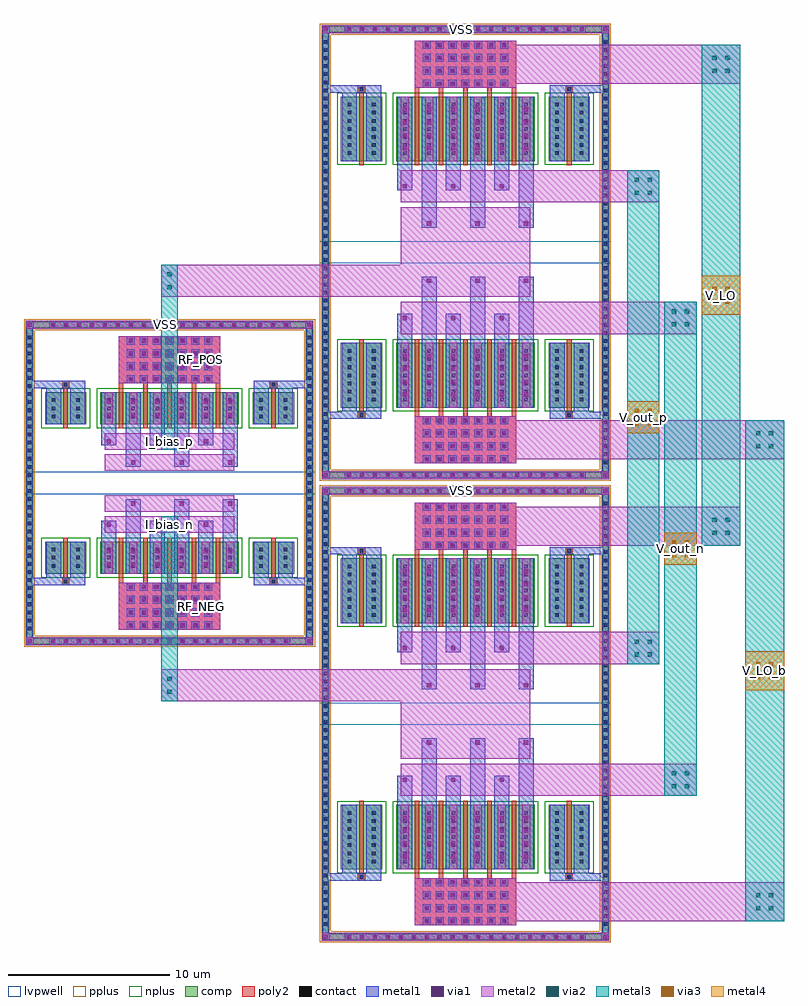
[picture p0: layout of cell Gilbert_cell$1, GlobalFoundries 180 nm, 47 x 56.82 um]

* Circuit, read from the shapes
.subckt Gilbert_cell$1 I_bias_n I_bias_p RF_NEG RF_POS VSS V_LO V_LO_b V_out_n V_out_p
XM1 VSS VSS VSS VSS nfet_03v3 w=2u l=0.28u m=4
XM2 n1 RF_NEG I_bias_n VSS nfet_03v3 w=2u l=0.28u m=5
XM3 n2 RF_POS I_bias_p VSS nfet_03v3 w=2u l=0.28u m=5
XM4 VSS VSS VSS VSS nfet_03v3 w=4u l=0.28u m=8
XM5 I_bias_n V_LO_b V_out_n VSS nfet_03v3 w=4u l=0.28u m=5
XM6 I_bias_n V_LO V_out_p VSS nfet_03v3 w=4u l=0.28u m=5
XM7 I_bias_p V_LO_b V_out_n VSS nfet_03v3 w=4u l=0.28u m=5
XM8 I_bias_p V_LO V_out_p VSS nfet_03v3 w=4u l=0.28u m=5
.ends

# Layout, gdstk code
import gdstk
lib = gdstk.Library(unit=1e-6, precision=5e-09)
def R(c, l, rs):  # rectangles x0, y0, x1, y1
    for r in rs: c.add(gdstk.rectangle(r[:2], r[2:], *l))
def A(c, l, x, y, w, h, nx, ny, dx, dy):  # array of equal rectangles
    R(c, l, [(x+i*dx, y+j*dy, x+i*dx+w, y+j*dy+h) for i in range(nx) for j in range(ny)])
def P(c, l, *ps):  # polygons
    for p in ps: c.add(gdstk.Polygon(p, *l))
comp = (22, 0)
poly2 = (30, 0)
pplus = (31, 0)
nplus = (32, 0)
contact = (33, 0)
metal1 = (34, 0)
via1 = (35, 0)
metal2 = (36, 0)
via2 = (38, 0)
via3 = (40, 0)
metal3 = (42, 0)
metal4 = (46, 0)
lvpwell = (204, 0)

gilbert_cell_1 = lib.new_cell('Gilbert_cell$1')
A(gilbert_cell_1, comp, 10.92, -33.165, 0.36, 0.36, 19, 2, 0.8, 27.58)
A(gilbert_cell_1, comp, 9.46, -32.375, 0.36, 0.36, 1, 53, 0, 0.5)
A(gilbert_cell_1, comp, 26.78, -32.375, 0.36, 0.36, 1, 53, 0, 0.5)
A(gilbert_cell_1, comp, -7.38, -14.885, 0.36, 0.36, 19, 2, 0.8, 19.58)
A(gilbert_cell_1, comp, -8.84, -14.095, 0.36, 0.36, 1, 37, 0, 0.5)
A(gilbert_cell_1, comp, 8.48, -14.095, 0.36, 0.36, 1, 37, 0, 0.5)
A(gilbert_cell_1, comp, 10.92, -4.605, 0.36, 0.36, 19, 2, 0.8, 27.58)
A(gilbert_cell_1, comp, 9.46, -3.815, 0.36, 0.36, 1, 53, 0, 0.5)
A(gilbert_cell_1, comp, 26.78, -3.815, 0.36, 0.36, 1, 53, 0, 0.5)
R(gilbert_cell_1, comp, [(10.92,-33.165,25.68,-32.805), (9.46,-32.375,9.82,-6.015), (26.78,-32.375,27.14,-6.015), (10.6,-28.815,13.16,-24.815), (14.02,-28.815,22.58,-24.815), (23.44,-28.815,26,-24.815), (-7.38,-14.885,7.38,-14.525), (-8.84,-14.095,-8.48,4.265), (8.48,-14.095,8.84,4.265), (10.6,-13.575,13.16,-9.575), (14.02,-13.575,22.58,-9.575), (23.44,-13.575,26,-9.575), (-7.7,-10.535,-5.14,-8.535), (-4.28,-10.535,4.28,-8.535), (5.14,-10.535,7.7,-8.535), (10.92,-5.585,25.68,-5.225), (10.92,-4.605,25.68,-4.245), (9.46,-3.815,9.82,22.545), (26.78,-3.815,27.14,22.545), (-7.7,-1.295,-5.14,0.705), (-4.28,-1.295,4.28,0.705), (5.14,-1.295,7.7,0.705), (10.6,-0.255,13.16,3.745), (14.02,-0.255,22.58,3.745), (23.44,-0.255,26,3.745), (-7.38,4.695,7.38,5.055), (10.6,14.985,13.16,18.985), (14.02,14.985,22.58,18.985), (23.44,14.985,26,18.985), (10.92,22.975,25.68,23.335)])
P(gilbert_cell_1, comp, [(8.84,5.055),(-8.84,5.055),(-8.84,-14.525),(-8.48,-14.525),(-8.48,4.695),(8.48,4.695),(8.48,-14.525),(-8.48,-14.525),(-8.84,-14.525),(-8.84,-14.885),(8.84,-14.885)],
  [(27.14,23.335),(9.46,23.335),(9.46,-4.245),(9.82,-4.245),(9.82,22.975),(26.78,22.975),(26.78,-4.245),(9.82,-4.245),(9.46,-4.245),(9.46,-4.605),(27.14,-4.605)],
  [(27.14,-5.225),(9.46,-5.225),(9.46,-32.805),(9.82,-32.805),(9.82,-5.585),(26.78,-5.585),(26.78,-32.805),(9.82,-32.805),(9.46,-32.805),(9.46,-33.165),(27.14,-33.165)])
A(gilbert_cell_1, poly2, 15.72, -32.185, 0.36, 0.36, 7, 4, 0.8, 0.8)
A(gilbert_cell_1, poly2, 15.16, -29.355, 0.28, 0.3, 5, 2, 1.5, 20.02)
A(gilbert_cell_1, poly2, 15.16, -29.055, 0.28, 4.48, 5, 2, 1.5, 15.24)
A(gilbert_cell_1, poly2, -2.58, -13.905, 0.36, 0.36, 7, 4, 0.8, 0.8)
A(gilbert_cell_1, poly2, -3.14, -11.075, 0.28, 0.3, 5, 2, 1.5, 12.02)
A(gilbert_cell_1, poly2, -3.14, -10.775, 0.28, 2.48, 5, 2, 1.5, 9.24)
A(gilbert_cell_1, poly2, 15.72, -8.965, 0.36, 0.36, 7, 4, 0.8, 0.8)
A(gilbert_cell_1, poly2, 15.72, -3.625, 0.36, 0.36, 7, 4, 0.8, 0.8)
A(gilbert_cell_1, poly2, 15.16, -0.795, 0.28, 0.3, 5, 2, 1.5, 20.02)
A(gilbert_cell_1, poly2, 15.16, -0.495, 0.28, 4.48, 5, 2, 1.5, 15.24)
A(gilbert_cell_1, poly2, -2.58, 1.315, 0.36, 0.36, 7, 4, 0.8, 0.8)
A(gilbert_cell_1, poly2, 15.72, 19.595, 0.36, 0.36, 7, 4, 0.8, 0.8)
R(gilbert_cell_1, poly2, [(15.16,-32.255,21.44,-29.355), (11.65,-29.515,12.11,-29.055), (24.49,-29.515,24.95,-29.055), (11.7,-29.465,12.06,-29.105), (24.54,-29.465,24.9,-29.105), (11.74,-29.055,12.02,-24.575), (24.58,-29.055,24.86,-24.575), (-3.14,-13.975,3.14,-11.075), (11.74,-13.815,12.02,-9.335), (24.58,-13.815,24.86,-9.335), (-6.65,-11.235,-6.19,-10.775), (6.19,-11.235,6.65,-10.775), (-6.6,-11.185,-6.24,-10.825), (6.24,-11.185,6.6,-10.825), (-6.56,-10.775,-6.28,-8.295), (6.28,-10.775,6.56,-8.295), (11.65,-9.335,12.11,-8.875), (24.49,-9.335,24.95,-8.875), (11.7,-9.285,12.06,-8.925), (24.54,-9.285,24.9,-8.925), (15.16,-9.035,21.44,-6.135), (15.16,-3.695,21.44,-0.795), (-6.56,-1.535,-6.28,0.945), (6.28,-1.535,6.56,0.945), (11.65,-0.955,12.11,-0.495), (24.49,-0.955,24.95,-0.495), (11.7,-0.905,12.06,-0.545), (24.54,-0.905,24.9,-0.545), (11.74,-0.495,12.02,3.985), (24.58,-0.495,24.86,3.985), (-6.65,0.945,-6.19,1.405), (6.19,0.945,6.65,1.405), (-6.6,0.995,-6.24,1.355), (6.24,0.995,6.6,1.355), (-3.14,1.245,3.14,4.145), (11.74,14.745,12.02,19.225), (24.58,14.745,24.86,19.225), (11.65,19.225,12.11,19.685), (24.49,19.225,24.95,19.685), (11.7,19.275,12.06,19.635), (24.54,19.275,24.9,19.635), (15.16,19.525,21.44,22.425)])
P(gilbert_cell_1, pplus, [(9,5.215),(-9,5.215),(-9,-14.365),(-8.32,-14.365),(-8.32,4.535),(8.32,4.535),(8.32,-14.365),(-8.32,-14.365),(-9,-14.365),(-9,-15.045),(9,-15.045)],
  [(27.3,23.495),(9.3,23.495),(9.3,-4.085),(9.98,-4.085),(9.98,22.815),(26.62,22.815),(26.62,-4.085),(9.98,-4.085),(9.3,-4.085),(9.3,-4.765),(27.3,-4.765)],
  [(27.3,-5.065),(9.3,-5.065),(9.3,-32.645),(9.98,-32.645),(9.98,-5.745),(26.62,-5.745),(26.62,-32.645),(9.98,-32.645),(9.3,-32.645),(9.3,-33.325),(27.3,-33.325)])
R(gilbert_cell_1, nplus, [(10.37,-29.045,13.39,-24.585), (13.79,-29.045,22.81,-24.585), (23.21,-29.045,26.23,-24.585), (10.37,-13.805,13.39,-9.345), (13.79,-13.805,22.81,-9.345), (23.21,-13.805,26.23,-9.345), (-7.93,-10.765,-4.91,-8.305), (-4.51,-10.765,4.51,-8.305), (4.91,-10.765,7.93,-8.305), (-7.93,-1.525,-4.91,0.935), (-4.51,-1.525,4.51,0.935), (4.91,-1.525,7.93,0.935), (10.37,-0.485,13.39,3.975), (13.79,-0.485,22.81,3.975), (23.21,-0.485,26.23,3.975), (10.37,14.755,13.39,19.215), (13.79,14.755,22.81,19.215), (23.21,14.755,26.23,19.215)])
A(gilbert_cell_1, contact, 10.99, -33.095, 0.22, 0.22, 19, 2, 0.8, 27.58)
A(gilbert_cell_1, contact, 9.53, -32.305, 0.22, 0.22, 1, 53, 0, 0.5)
A(gilbert_cell_1, contact, 26.85, -32.305, 0.22, 0.22, 1, 53, 0, 0.5)
A(gilbert_cell_1, contact, 15.79, -32.115, 0.22, 0.22, 7, 4, 0.8, 0.8)
A(gilbert_cell_1, contact, 11.02, -28.425, 0.22, 0.22, 1, 7, 0, 0.5)
A(gilbert_cell_1, contact, 12.52, -28.425, 0.22, 0.22, 1, 7, 0, 0.5)
A(gilbert_cell_1, contact, 14.44, -28.425, 0.22, 0.22, 6, 7, 1.5, 0.5)
A(gilbert_cell_1, contact, 23.86, -28.425, 0.22, 0.22, 1, 7, 0, 0.5)
A(gilbert_cell_1, contact, 25.36, -28.425, 0.22, 0.22, 1, 7, 0, 0.5)
A(gilbert_cell_1, contact, -7.31, -14.815, 0.22, 0.22, 19, 2, 0.8, 19.58)
A(gilbert_cell_1, contact, -8.77, -14.025, 0.22, 0.22, 1, 37, 0, 0.5)
A(gilbert_cell_1, contact, 8.55, -14.025, 0.22, 0.22, 1, 37, 0, 0.5)
A(gilbert_cell_1, contact, -2.51, -13.835, 0.22, 0.22, 7, 4, 0.8, 0.8)
A(gilbert_cell_1, contact, 11.02, -13.185, 0.22, 0.22, 1, 7, 0, 0.5)
A(gilbert_cell_1, contact, 12.52, -13.185, 0.22, 0.22, 1, 7, 0, 0.5)
A(gilbert_cell_1, contact, 14.44, -13.185, 0.22, 0.22, 6, 7, 1.5, 0.5)
A(gilbert_cell_1, contact, 23.86, -13.185, 0.22, 0.22, 1, 7, 0, 0.5)
A(gilbert_cell_1, contact, 25.36, -13.185, 0.22, 0.22, 1, 7, 0, 0.5)
A(gilbert_cell_1, contact, -7.28, -10.145, 0.22, 0.22, 1, 3, 0, 0.5)
A(gilbert_cell_1, contact, -5.78, -10.145, 0.22, 0.22, 1, 3, 0, 0.5)
A(gilbert_cell_1, contact, -3.86, -10.145, 0.22, 0.22, 6, 3, 1.5, 0.5)
A(gilbert_cell_1, contact, 5.56, -10.145, 0.22, 0.22, 1, 3, 0, 0.5)
A(gilbert_cell_1, contact, 7.06, -10.145, 0.22, 0.22, 1, 3, 0, 0.5)
A(gilbert_cell_1, contact, 15.79, -8.895, 0.22, 0.22, 7, 4, 0.8, 0.8)
A(gilbert_cell_1, contact, 10.99, -4.535, 0.22, 0.22, 19, 2, 0.8, 27.58)
A(gilbert_cell_1, contact, 9.53, -3.745, 0.22, 0.22, 1, 53, 0, 0.5)
A(gilbert_cell_1, contact, 26.85, -3.745, 0.22, 0.22, 1, 53, 0, 0.5)
A(gilbert_cell_1, contact, 15.79, -3.555, 0.22, 0.22, 7, 4, 0.8, 0.8)
A(gilbert_cell_1, contact, -7.28, -0.905, 0.22, 0.22, 1, 3, 0, 0.5)
A(gilbert_cell_1, contact, -5.78, -0.905, 0.22, 0.22, 1, 3, 0, 0.5)
A(gilbert_cell_1, contact, -3.86, -0.905, 0.22, 0.22, 6, 3, 1.5, 0.5)
A(gilbert_cell_1, contact, 5.56, -0.905, 0.22, 0.22, 1, 3, 0, 0.5)
A(gilbert_cell_1, contact, 7.06, -0.905, 0.22, 0.22, 1, 3, 0, 0.5)
A(gilbert_cell_1, contact, 11.02, 0.135, 0.22, 0.22, 1, 7, 0, 0.5)
A(gilbert_cell_1, contact, 12.52, 0.135, 0.22, 0.22, 1, 7, 0, 0.5)
A(gilbert_cell_1, contact, 14.44, 0.135, 0.22, 0.22, 6, 7, 1.5, 0.5)
A(gilbert_cell_1, contact, 23.86, 0.135, 0.22, 0.22, 1, 7, 0, 0.5)
A(gilbert_cell_1, contact, 25.36, 0.135, 0.22, 0.22, 1, 7, 0, 0.5)
A(gilbert_cell_1, contact, -2.51, 1.385, 0.22, 0.22, 7, 4, 0.8, 0.8)
A(gilbert_cell_1, contact, 11.02, 15.375, 0.22, 0.22, 1, 7, 0, 0.5)
A(gilbert_cell_1, contact, 12.52, 15.375, 0.22, 0.22, 1, 7, 0, 0.5)
A(gilbert_cell_1, contact, 14.44, 15.375, 0.22, 0.22, 6, 7, 1.5, 0.5)
A(gilbert_cell_1, contact, 23.86, 15.375, 0.22, 0.22, 1, 7, 0, 0.5)
A(gilbert_cell_1, contact, 25.36, 15.375, 0.22, 0.22, 1, 7, 0, 0.5)
A(gilbert_cell_1, contact, 15.79, 19.665, 0.22, 0.22, 7, 4, 0.8, 0.8)
R(gilbert_cell_1, contact, [(11.77,-29.395,11.99,-29.175), (24.61,-29.395,24.83,-29.175), (-6.53,-11.115,-6.31,-10.895), (6.31,-11.115,6.53,-10.895), (11.77,-9.215,11.99,-8.995), (24.61,-9.215,24.83,-8.995), (11.77,-0.835,11.99,-0.615), (24.61,-0.835,24.83,-0.615), (-6.53,1.065,-6.31,1.285), (6.31,1.065,6.53,1.285), (11.77,19.345,11.99,19.565), (24.61,19.345,24.83,19.565)])
A(gilbert_cell_1, metal1, 10.85, -33.235, 0.5, 0.5, 19, 2, 0.8, 27.58)
A(gilbert_cell_1, metal1, 9.41, -32.425, 0.46, 0.46, 1, 53, 0, 0.5)
A(gilbert_cell_1, metal1, 26.73, -32.425, 0.46, 0.46, 1, 53, 0, 0.5)
A(gilbert_cell_1, metal1, 15.65, -32.255, 0.5, 0.5, 7, 4, 0.8, 0.8)
A(gilbert_cell_1, metal1, 14.09, -28.815, 0.92, 4, 6, 2, 1.5, 15.24)
A(gilbert_cell_1, metal1, 10.9, -28.545, 0.46, 0.46, 1, 7, 0, 0.5)
A(gilbert_cell_1, metal1, 12.4, -28.545, 0.46, 0.46, 1, 7, 0, 0.5)
A(gilbert_cell_1, metal1, 14.32, -28.545, 0.46, 0.46, 6, 7, 1.5, 0.5)
A(gilbert_cell_1, metal1, 23.74, -28.545, 0.46, 0.46, 1, 7, 0, 0.5)
A(gilbert_cell_1, metal1, 25.24, -28.545, 0.46, 0.46, 1, 7, 0, 0.5)
A(gilbert_cell_1, metal1, 14.3, -28.265, 0.5, 0.5, 6, 4, 1.5, 0.8)
A(gilbert_cell_1, metal1, 14.3, -28.265, 0.5, 2.9, 6, 2, 1.5, 15.24)
A(gilbert_cell_1, metal1, 14.09, -24.815, 0.92, 1.8, 3, 2, 3, 9.44)
A(gilbert_cell_1, metal1, 15.59, -24.815, 0.92, 4.1, 3, 2, 3, 7.14)
A(gilbert_cell_1, metal1, 14.3, -23.515, 0.5, 0.5, 3, 2, 3, 8.14)
A(gilbert_cell_1, metal1, 15.8, -21.215, 0.5, 0.5, 3, 2, 3, 3.54)
A(gilbert_cell_1, metal1, -7.45, -14.955, 0.5, 0.5, 19, 2, 0.8, 19.58)
A(gilbert_cell_1, metal1, -8.89, -14.145, 0.46, 0.46, 1, 37, 0, 0.5)
A(gilbert_cell_1, metal1, 8.43, -14.145, 0.46, 0.46, 1, 37, 0, 0.5)
A(gilbert_cell_1, metal1, -2.65, -13.975, 0.5, 0.5, 7, 4, 0.8, 0.8)
A(gilbert_cell_1, metal1, 10.9, -13.305, 0.46, 0.46, 1, 7, 0, 0.5)
A(gilbert_cell_1, metal1, 12.4, -13.305, 0.46, 0.46, 1, 7, 0, 0.5)
A(gilbert_cell_1, metal1, 14.32, -13.305, 0.46, 0.46, 6, 7, 1.5, 0.5)
A(gilbert_cell_1, metal1, 23.74, -13.305, 0.46, 0.46, 1, 7, 0, 0.5)
A(gilbert_cell_1, metal1, 25.24, -13.305, 0.46, 0.46, 1, 7, 0, 0.5)
A(gilbert_cell_1, metal1, 14.3, -13.025, 0.5, 0.5, 6, 4, 1.5, 0.8)
A(gilbert_cell_1, metal1, -4.21, -10.535, 0.92, 2, 6, 2, 1.5, 9.24)
A(gilbert_cell_1, metal1, -7.4, -10.265, 0.46, 0.46, 1, 3, 0, 0.5)
A(gilbert_cell_1, metal1, -5.9, -10.265, 0.46, 0.46, 1, 3, 0, 0.5)
A(gilbert_cell_1, metal1, -3.98, -10.265, 0.46, 0.46, 6, 3, 1.5, 0.5)
A(gilbert_cell_1, metal1, 5.44, -10.265, 0.46, 0.46, 1, 3, 0, 0.5)
A(gilbert_cell_1, metal1, 6.94, -10.265, 0.46, 0.46, 1, 3, 0, 0.5)
A(gilbert_cell_1, metal1, -4, -10.185, 0.5, 0.5, 6, 2, 1.5, 0.8)
A(gilbert_cell_1, metal1, -4, -10.185, 0.5, 1.3, 6, 2, 1.5, 9.24)
A(gilbert_cell_1, metal1, 15.65, -9.035, 0.5, 0.5, 7, 4, 0.8, 0.8)
A(gilbert_cell_1, metal1, -4.21, -8.535, 0.92, 1.3, 3, 2, 3, 5.94)
A(gilbert_cell_1, metal1, -2.71, -8.535, 0.92, 2.6, 3, 2, 3, 4.64)
A(gilbert_cell_1, metal1, -4, -7.735, 0.5, 0.5, 3, 2, 3, 5.14)
A(gilbert_cell_1, metal1, -2.5, -6.435, 0.5, 0.5, 3, 2, 3, 2.54)
A(gilbert_cell_1, metal1, 10.85, -4.675, 0.5, 0.5, 19, 2, 0.8, 27.58)
A(gilbert_cell_1, metal1, 9.41, -3.865, 0.46, 0.46, 1, 53, 0, 0.5)
A(gilbert_cell_1, metal1, 26.73, -3.865, 0.46, 0.46, 1, 53, 0, 0.5)
A(gilbert_cell_1, metal1, 15.65, -3.695, 0.5, 0.5, 7, 4, 0.8, 0.8)
A(gilbert_cell_1, metal1, -7.4, -1.025, 0.46, 0.46, 1, 3, 0, 0.5)
A(gilbert_cell_1, metal1, -5.9, -1.025, 0.46, 0.46, 1, 3, 0, 0.5)
A(gilbert_cell_1, metal1, -3.98, -1.025, 0.46, 0.46, 6, 3, 1.5, 0.5)
A(gilbert_cell_1, metal1, 5.44, -1.025, 0.46, 0.46, 1, 3, 0, 0.5)
A(gilbert_cell_1, metal1, 6.94, -1.025, 0.46, 0.46, 1, 3, 0, 0.5)
A(gilbert_cell_1, metal1, -4, -0.945, 0.5, 0.5, 6, 2, 1.5, 0.8)
A(gilbert_cell_1, metal1, 14.09, -0.255, 0.92, 4, 6, 2, 1.5, 15.24)
A(gilbert_cell_1, metal1, 10.9, 0.015, 0.46, 0.46, 1, 7, 0, 0.5)
A(gilbert_cell_1, metal1, 12.4, 0.015, 0.46, 0.46, 1, 7, 0, 0.5)
A(gilbert_cell_1, metal1, 14.32, 0.015, 0.46, 0.46, 6, 7, 1.5, 0.5)
A(gilbert_cell_1, metal1, 23.74, 0.015, 0.46, 0.46, 1, 7, 0, 0.5)
A(gilbert_cell_1, metal1, 25.24, 0.015, 0.46, 0.46, 1, 7, 0, 0.5)
A(gilbert_cell_1, metal1, 14.3, 0.295, 0.5, 0.5, 6, 4, 1.5, 0.8)
A(gilbert_cell_1, metal1, 14.3, 0.295, 0.5, 2.9, 6, 2, 1.5, 15.24)
A(gilbert_cell_1, metal1, -2.65, 1.245, 0.5, 0.5, 7, 4, 0.8, 0.8)
A(gilbert_cell_1, metal1, 14.09, 3.745, 0.92, 1.8, 3, 2, 3, 9.44)
A(gilbert_cell_1, metal1, 15.59, 3.745, 0.92, 4.1, 3, 2, 3, 7.14)
A(gilbert_cell_1, metal1, 14.3, 5.045, 0.5, 0.5, 3, 2, 3, 8.14)
A(gilbert_cell_1, metal1, 15.8, 7.345, 0.5, 0.5, 3, 2, 3, 3.54)
A(gilbert_cell_1, metal1, 10.9, 15.255, 0.46, 0.46, 1, 7, 0, 0.5)
A(gilbert_cell_1, metal1, 12.4, 15.255, 0.46, 0.46, 1, 7, 0, 0.5)
A(gilbert_cell_1, metal1, 14.32, 15.255, 0.46, 0.46, 6, 7, 1.5, 0.5)
A(gilbert_cell_1, metal1, 23.74, 15.255, 0.46, 0.46, 1, 7, 0, 0.5)
A(gilbert_cell_1, metal1, 25.24, 15.255, 0.46, 0.46, 1, 7, 0, 0.5)
A(gilbert_cell_1, metal1, 14.3, 15.535, 0.5, 0.5, 6, 4, 1.5, 0.8)
A(gilbert_cell_1, metal1, 15.65, 19.525, 0.5, 0.5, 7, 4, 0.8, 0.8)
R(gilbert_cell_1, metal1, [(9.41,-33.235,9.91,-32.735), (9.41,-33.235,9.91,-32.735), (9.41,-33.235,9.87,-32.805), (10.85,-33.235,25.75,-32.735), (26.69,-33.235,27.19,-32.735), (26.69,-33.235,27.19,-32.735), (26.73,-33.235,27.19,-32.805), (9.41,-32.805,9.87,-5.585), (26.73,-32.805,27.19,-5.585), (9.87,-29.515,12.11,-29.055), (10.67,-29.515,11.65,-29.055), (10.67,-29.515,11.59,-28.815), (11.65,-29.515,12.11,-29.055), (12.11,-29.515,13.09,-29.055), (12.17,-29.515,13.09,-28.815), (23.51,-29.515,24.49,-29.055), (23.51,-29.515,24.43,-28.815), (24.49,-29.515,24.95,-29.055), (24.49,-29.515,26.73,-29.055), (24.95,-29.515,25.93,-29.055), (25.01,-29.515,25.93,-28.815), (10.67,-28.815,11.59,-24.815), (12.17,-28.815,13.09,-24.815), (23.51,-28.815,24.43,-24.815), (25.01,-28.815,25.93,-24.815), (-8.89,-14.955,-8.39,-14.455), (-8.89,-14.955,-8.39,-14.455), (-8.89,-14.955,-8.43,-14.525), (-7.45,-14.955,7.45,-14.455), (8.39,-14.955,8.89,-14.455), (8.39,-14.955,8.89,-14.455), (8.43,-14.955,8.89,-14.525), (-8.89,-14.525,-8.43,4.695), (8.43,-14.525,8.89,4.695), (10.67,-13.575,11.59,-9.575), (12.17,-13.575,13.09,-9.575), (23.51,-13.575,24.43,-9.575), (25.01,-13.575,25.93,-9.575), (-8.43,-11.235,-6.19,-10.775), (-7.63,-11.235,-6.65,-10.775), (-7.63,-11.235,-6.71,-10.535), (-6.65,-11.235,-6.19,-10.775), (-6.19,-11.235,-5.21,-10.775), (-6.13,-11.235,-5.21,-10.535), (5.21,-11.235,6.19,-10.775), (5.21,-11.235,6.13,-10.535), (6.19,-11.235,6.65,-10.775), (6.19,-11.235,8.43,-10.775), (6.65,-11.235,7.63,-10.775), (6.71,-11.235,7.63,-10.535), (-7.63,-10.535,-6.71,-8.535), (-6.13,-10.535,-5.21,-8.535), (5.21,-10.535,6.13,-8.535), (6.71,-10.535,7.63,-8.535), (10.67,-9.575,11.59,-8.875), (12.17,-9.575,13.09,-8.875), (23.51,-9.575,24.43,-8.875), (25.01,-9.575,25.93,-8.875), (9.87,-9.335,12.11,-8.875), (10.67,-9.335,11.65,-8.875), (11.65,-9.335,12.11,-8.875), (12.11,-9.335,13.09,-8.875), (23.51,-9.335,24.49,-8.875), (24.49,-9.335,24.95,-8.875), (24.49,-9.335,26.73,-8.875), (24.95,-9.335,25.93,-8.875), (9.41,-5.655,9.91,-5.155), (9.41,-5.655,9.91,-5.155), (10.85,-5.655,25.75,-5.155), (26.69,-5.655,27.19,-5.155), (26.69,-5.655,27.19,-5.155), (9.41,-5.585,9.87,-5.155), (26.73,-5.585,27.19,-5.155), (9.41,-4.675,9.91,-4.175), (9.41,-4.675,9.91,-4.175), (9.41,-4.675,9.87,-4.245), (10.85,-4.675,25.75,-4.175), (26.69,-4.675,27.19,-4.175), (26.69,-4.675,27.19,-4.175), (26.73,-4.675,27.19,-4.245), (9.41,-4.245,9.87,22.975), (26.73,-4.245,27.19,22.975), (-7.63,-1.295,-6.71,0.705), (-6.13,-1.295,-5.21,0.705), (5.21,-1.295,6.13,0.705), (6.71,-1.295,7.63,0.705), (9.87,-0.955,12.11,-0.495), (10.67,-0.955,11.65,-0.495), (10.67,-0.955,11.59,-0.255), (11.65,-0.955,12.11,-0.495), (12.11,-0.955,13.09,-0.495), (12.17,-0.955,13.09,-0.255), (23.51,-0.955,24.49,-0.495), (23.51,-0.955,24.43,-0.255), (24.49,-0.955,24.95,-0.495), (24.49,-0.955,26.73,-0.495), (24.95,-0.955,25.93,-0.495), (25.01,-0.955,25.93,-0.255), (10.67,-0.255,11.59,3.745), (12.17,-0.255,13.09,3.745), (23.51,-0.255,24.43,3.745), (25.01,-0.255,25.93,3.745), (-7.63,0.705,-6.71,1.405), (-6.13,0.705,-5.21,1.405), (5.21,0.705,6.13,1.405), (6.71,0.705,7.63,1.405), (-8.43,0.945,-6.19,1.405), (-7.63,0.945,-6.65,1.405), (-6.65,0.945,-6.19,1.405), (-6.19,0.945,-5.21,1.405), (5.21,0.945,6.19,1.405), (6.19,0.945,6.65,1.405), (6.19,0.945,8.43,1.405), (6.65,0.945,7.63,1.405), (-8.89,4.625,-8.39,5.125), (-8.89,4.625,-8.39,5.125), (-7.45,4.625,7.45,5.125), (8.39,4.625,8.89,5.125), (8.39,4.625,8.89,5.125), (-8.89,4.695,-8.43,5.125), (8.43,4.695,8.89,5.125), (10.67,14.985,11.59,18.985), (12.17,14.985,13.09,18.985), (23.51,14.985,24.43,18.985), (25.01,14.985,25.93,18.985), (10.67,18.985,11.59,19.685), (12.17,18.985,13.09,19.685), (23.51,18.985,24.43,19.685), (25.01,18.985,25.93,19.685), (9.87,19.225,12.11,19.685), (10.67,19.225,11.65,19.685), (11.65,19.225,12.11,19.685), (12.11,19.225,13.09,19.685), (23.51,19.225,24.49,19.685), (24.49,19.225,24.95,19.685), (24.49,19.225,26.73,19.685), (24.95,19.225,25.93,19.685), (9.41,22.905,9.91,23.405), (9.41,22.905,9.91,23.405), (10.85,22.905,25.75,23.405), (26.69,22.905,27.19,23.405), (26.69,22.905,27.19,23.405), (9.41,22.975,9.87,23.405), (26.73,22.975,27.19,23.405)])
A(gilbert_cell_1, via1, 10.97, -33.115, 0.26, 0.26, 19, 2, 0.8, 27.58)
A(gilbert_cell_1, via1, 15.77, -32.135, 0.26, 0.26, 7, 4, 0.8, 0.8)
A(gilbert_cell_1, via1, 14.42, -28.145, 0.26, 0.26, 6, 4, 1.5, 0.8)
A(gilbert_cell_1, via1, 14.42, -23.395, 0.26, 0.26, 3, 2, 3, 8.14)
A(gilbert_cell_1, via1, 15.92, -21.095, 0.26, 0.26, 3, 2, 3, 3.54)
A(gilbert_cell_1, via1, -7.33, -14.835, 0.26, 0.26, 19, 2, 0.8, 19.58)
A(gilbert_cell_1, via1, -2.53, -13.855, 0.26, 0.26, 7, 4, 0.8, 0.8)
A(gilbert_cell_1, via1, 14.42, -12.905, 0.26, 0.26, 6, 4, 1.5, 0.8)
A(gilbert_cell_1, via1, -3.88, -10.065, 0.26, 0.26, 6, 2, 1.5, 0.8)
A(gilbert_cell_1, via1, 15.77, -8.915, 0.26, 0.26, 7, 4, 0.8, 0.8)
A(gilbert_cell_1, via1, -3.88, -7.615, 0.26, 0.26, 3, 2, 3, 5.14)
A(gilbert_cell_1, via1, -2.38, -6.315, 0.26, 0.26, 3, 2, 3, 2.54)
A(gilbert_cell_1, via1, 10.97, -4.555, 0.26, 0.26, 19, 2, 0.8, 27.58)
A(gilbert_cell_1, via1, 15.77, -3.575, 0.26, 0.26, 7, 4, 0.8, 0.8)
A(gilbert_cell_1, via1, -3.88, -0.825, 0.26, 0.26, 6, 2, 1.5, 0.8)
A(gilbert_cell_1, via1, 14.42, 0.415, 0.26, 0.26, 6, 4, 1.5, 0.8)
A(gilbert_cell_1, via1, -2.53, 1.365, 0.26, 0.26, 7, 4, 0.8, 0.8)
A(gilbert_cell_1, via1, 14.42, 5.165, 0.26, 0.26, 3, 2, 3, 8.14)
A(gilbert_cell_1, via1, 15.92, 7.465, 0.26, 0.26, 3, 2, 3, 3.54)
A(gilbert_cell_1, via1, 14.42, 15.655, 0.26, 0.26, 6, 4, 1.5, 0.8)
A(gilbert_cell_1, via1, 15.77, 19.645, 0.26, 0.26, 7, 4, 0.8, 0.8)
R(gilbert_cell_1, via1, [(9.53,-33.115,9.79,-32.855), (26.81,-33.115,27.07,-32.855), (-8.77,-14.835,-8.51,-14.575), (8.51,-14.835,8.77,-14.575), (9.53,-5.535,9.79,-5.275), (26.81,-5.535,27.07,-5.275), (9.53,-4.555,9.79,-4.295), (26.81,-4.555,27.07,-4.295), (-8.77,4.745,-8.51,5.005), (8.51,4.745,8.77,5.005), (9.53,23.025,9.79,23.285), (26.81,23.025,27.07,23.285)])
A(gilbert_cell_1, metal2, 10.85, -33.235, 0.5, 0.5, 19, 2, 0.8, 27.58)
A(gilbert_cell_1, metal2, 15.65, -32.255, 0.5, 0.5, 7, 4, 0.8, 0.8)
A(gilbert_cell_1, metal2, 14.3, -28.815, 0.5, 4, 6, 2, 1.5, 15.24)
A(gilbert_cell_1, metal2, 14.3, -28.265, 0.5, 0.5, 6, 4, 1.5, 0.8)
A(gilbert_cell_1, metal2, 14.3, -23.515, 0.5, 0.5, 3, 2, 3, 8.14)
A(gilbert_cell_1, metal2, 15.8, -21.215, 0.5, 0.5, 3, 2, 3, 3.54)
A(gilbert_cell_1, metal2, -7.45, -14.955, 0.5, 0.5, 19, 2, 0.8, 19.58)
A(gilbert_cell_1, metal2, -2.65, -13.975, 0.5, 0.5, 7, 4, 0.8, 0.8)
A(gilbert_cell_1, metal2, 14.3, -13.025, 0.5, 0.5, 6, 4, 1.5, 0.8)
A(gilbert_cell_1, metal2, -4, -10.535, 0.5, 2, 6, 2, 1.5, 9.24)
A(gilbert_cell_1, metal2, -4, -10.185, 0.5, 0.5, 6, 2, 1.5, 0.8)
A(gilbert_cell_1, metal2, 15.65, -9.035, 0.5, 0.5, 7, 4, 0.8, 0.8)
A(gilbert_cell_1, metal2, -2.5, -6.435, 0.5, 0.5, 3, 2, 3, 2.54)
A(gilbert_cell_1, metal2, 10.85, -4.675, 0.5, 0.5, 19, 2, 0.8, 27.58)
A(gilbert_cell_1, metal2, 15.65, -3.695, 0.5, 0.5, 7, 4, 0.8, 0.8)
A(gilbert_cell_1, metal2, -4, -0.945, 0.5, 0.5, 6, 2, 1.5, 0.8)
A(gilbert_cell_1, metal2, 14.3, -0.255, 0.5, 4, 6, 2, 1.5, 15.24)
A(gilbert_cell_1, metal2, 14.3, 0.295, 0.5, 0.5, 6, 4, 1.5, 0.8)
A(gilbert_cell_1, metal2, -2.65, 1.245, 0.5, 0.5, 7, 4, 0.8, 0.8)
A(gilbert_cell_1, metal2, 14.3, 5.045, 0.5, 0.5, 3, 2, 3, 8.14)
A(gilbert_cell_1, metal2, 15.8, 7.345, 0.5, 0.5, 3, 2, 3, 3.54)
A(gilbert_cell_1, metal2, 14.3, 15.535, 0.5, 0.5, 6, 4, 1.5, 0.8)
A(gilbert_cell_1, metal2, 15.65, 19.525, 0.5, 0.5, 7, 4, 0.8, 0.8)
R(gilbert_cell_1, metal2, [(9.41,-33.235,9.91,-32.735), (9.41,-33.235,9.91,-32.735), (9.41,-33.235,9.82,-32.735), (9.82,-33.235,26.78,-32.735), (26.69,-33.235,27.19,-32.735), (26.69,-33.235,27.19,-32.735), (26.78,-33.235,27.19,-32.735), (15.16,-32.255,21.44,-29.355), (18.3,-32.005,38,-29.605), (36.15,-31.455,36.65,-30.955), (36.15,-31.455,37.45,-30.155), (36.95,-31.455,37.45,-30.955), (36.15,-30.655,36.65,-30.155), (36.95,-30.655,37.45,-30.155), (14.3,-24.265,22.3,-22.265), (18.3,-24.265,32.6,-22.265), (30.95,-23.915,31.45,-23.415), (30.95,-23.915,32.25,-22.615), (31.75,-23.915,32.25,-23.415), (30.95,-23.115,31.45,-22.615), (31.75,-23.115,32.25,-22.615), (14.3,-21.965,22.3,-19.965), (14.3,-19.965,22.3,-18.425), (-0.5,-18.425,18.3,-16.425), (14.3,-18.425,22.3,-16.425), (-0.25,-18.075,0.25,-17.575), (-0.25,-18.075,0.25,-16.775), (-0.25,-17.275,0.25,-16.775), (14.3,-16.125,22.3,-14.125), (18.3,-16.125,30.3,-14.125), (28.65,-15.775,29.15,-15.275), (28.65,-15.775,29.95,-14.475), (29.45,-15.775,29.95,-15.275), (28.65,-14.975,29.15,-14.475), (29.45,-14.975,29.95,-14.475), (-8.89,-14.955,-8.39,-14.455), (-8.89,-14.955,-8.39,-14.455), (-8.89,-14.955,-8.48,-14.455), (-8.48,-14.955,8.48,-14.455), (8.39,-14.955,8.89,-14.455), (8.39,-14.955,8.89,-14.455), (8.48,-14.955,8.89,-14.455), (-3.14,-13.975,3.14,-11.075), (15.16,-9.035,21.44,-6.135), (18.3,-8.785,35.3,-6.385), (33.45,-8.235,33.95,-7.735), (33.45,-8.235,34.75,-6.935), (34.25,-8.235,34.75,-7.735), (-4,-7.985,4,-6.985), (-0.5,-7.985,0.5,-6.985), (-4,-7.735,-3.5,-7.235), (-1,-7.735,-0.5,-7.235), (-0.25,-7.735,0.25,-7.235), (2,-7.735,2.5,-7.235), (33.45,-7.435,33.95,-6.935), (34.25,-7.435,34.75,-6.935), (-4,-6.685,4,-5.685), (9.41,-5.655,9.91,-5.155), (9.41,-5.655,9.91,-5.155), (9.41,-5.655,9.82,-5.155), (9.82,-5.655,26.78,-5.155), (26.69,-5.655,27.19,-5.155), (26.69,-5.655,27.19,-5.155), (26.78,-5.655,27.19,-5.155), (9.41,-4.675,9.91,-4.175), (9.41,-4.675,9.91,-4.175), (9.41,-4.675,9.82,-4.175), (9.82,-4.675,26.78,-4.175), (26.69,-4.675,27.19,-4.175), (26.69,-4.675,27.19,-4.175), (26.78,-4.675,27.19,-4.175), (-4,-4.145,4,-3.145), (15.16,-3.695,21.44,-0.795), (18.3,-3.445,38,-1.045), (36.15,-2.895,36.65,-2.395), (36.15,-2.895,37.45,-1.595), (36.95,-2.895,37.45,-2.395), (-4,-2.845,4,-1.845), (-0.5,-2.845,0.5,-1.845), (-4,-2.595,-3.5,-2.095), (-1,-2.595,-0.5,-2.095), (-0.25,-2.595,0.25,-2.095), (2,-2.595,2.5,-2.095), (36.15,-2.095,36.65,-1.595), (36.95,-2.095,37.45,-1.595), (-3.14,1.245,3.14,4.145), (14.3,4.295,22.3,6.295), (18.3,4.295,32.6,6.295), (-8.89,4.625,-8.39,5.125), (-8.89,4.625,-8.39,5.125), (-8.89,4.625,-8.48,5.125), (-8.48,4.625,8.48,5.125), (8.39,4.625,8.89,5.125), (8.39,4.625,8.89,5.125), (8.48,4.625,8.89,5.125), (30.95,4.645,31.45,5.145), (30.95,4.645,32.25,5.945), (31.75,4.645,32.25,5.145), (30.95,5.445,31.45,5.945), (31.75,5.445,32.25,5.945), (-0.5,6.595,18.3,8.595), (14.3,6.595,22.3,8.595), (-0.25,6.945,0.25,7.445), (-0.25,6.945,0.25,8.245), (-0.25,7.745,0.25,8.245), (14.3,8.595,22.3,10.135), (14.3,10.135,22.3,12.135), (14.3,12.435,22.3,14.435), (18.3,12.435,30.3,14.435), (28.65,12.785,29.15,13.285), (28.65,12.785,29.95,14.085), (29.45,12.785,29.95,13.285), (28.65,13.585,29.15,14.085), (29.45,13.585,29.95,14.085), (15.16,19.525,21.44,22.425), (18.3,19.775,35.3,22.175), (33.45,20.325,33.95,20.825), (33.45,20.325,34.75,21.625), (34.25,20.325,34.75,20.825), (33.45,21.125,33.95,21.625), (34.25,21.125,34.75,21.625), (9.41,22.905,9.91,23.405), (9.41,22.905,9.91,23.405), (9.41,22.905,9.82,23.405), (9.82,22.905,26.78,23.405), (26.69,22.905,27.19,23.405), (26.69,22.905,27.19,23.405), (26.78,22.905,27.19,23.405)])
R(gilbert_cell_1, via2, [(36.27,-31.335,36.53,-31.075), (37.07,-31.335,37.33,-31.075), (36.27,-30.535,36.53,-30.275), (37.07,-30.535,37.33,-30.275), (31.07,-23.795,31.33,-23.535), (31.87,-23.795,32.13,-23.535), (31.07,-22.995,31.33,-22.735), (31.87,-22.995,32.13,-22.735), (-0.13,-17.955,0.13,-17.695), (-0.13,-17.155,0.13,-16.895), (28.77,-15.655,29.03,-15.395), (29.57,-15.655,29.83,-15.395), (28.77,-14.855,29.03,-14.595), (29.57,-14.855,29.83,-14.595), (33.57,-8.115,33.83,-7.855), (34.37,-8.115,34.63,-7.855), (-0.13,-7.615,0.13,-7.355), (33.57,-7.315,33.83,-7.055), (34.37,-7.315,34.63,-7.055), (36.27,-2.775,36.53,-2.515), (37.07,-2.775,37.33,-2.515), (-0.13,-2.475,0.13,-2.215), (36.27,-1.975,36.53,-1.715), (37.07,-1.975,37.33,-1.715), (31.07,4.765,31.33,5.025), (31.87,4.765,32.13,5.025), (31.07,5.565,31.33,5.825), (31.87,5.565,32.13,5.825), (-0.13,7.065,0.13,7.325), (-0.13,7.865,0.13,8.125), (28.77,12.905,29.03,13.165), (29.57,12.905,29.83,13.165), (28.77,13.705,29.03,13.965), (29.57,13.705,29.83,13.965), (33.57,20.445,33.83,20.705), (34.37,20.445,34.63,20.705), (33.57,21.245,33.83,21.505), (34.37,21.245,34.63,21.505)])
R(gilbert_cell_1, via3, [(36.27,-17.055,36.53,-16.795), (37.07,-17.055,37.33,-16.795), (36.27,-16.255,36.53,-15.995), (37.07,-16.255,37.33,-15.995), (31.07,-9.515,31.33,-9.255), (31.87,-9.515,32.13,-9.255), (31.07,-8.715,31.33,-8.455), (31.87,-8.715,32.13,-8.455), (28.77,-1.375,29.03,-1.115), (29.57,-1.375,29.83,-1.115), (28.77,-0.575,29.03,-0.315), (29.57,-0.575,29.83,-0.315), (33.57,6.165,33.83,6.425), (34.37,6.165,34.63,6.425), (33.57,6.965,33.83,7.225), (34.37,6.965,34.63,7.225)])
A(gilbert_cell_1, metal3, 35.6, -32.005, 2.4, 2.4, 1, 3, 0, 14.28)
A(gilbert_cell_1, metal3, 30.6, -24.265, 2, 2, 1, 3, 0, 14.28)
A(gilbert_cell_1, metal3, 28.3, -16.125, 2, 2, 1, 3, 0, 14.28)
A(gilbert_cell_1, metal3, 32.9, -8.785, 2.4, 2.4, 1, 3, 0, 14.28)
R(gilbert_cell_1, metal3, [(35.6,-32.005,38,-15.325), (36.15,-31.455,36.65,-30.955), (36.95,-31.455,37.45,-30.955), (36.15,-30.655,36.65,-30.155), (36.95,-30.655,37.45,-30.155), (30.6,-24.265,32.6,-7.985), (30.95,-23.915,31.45,-23.415), (31.75,-23.915,32.25,-23.415), (30.95,-23.115,31.45,-22.615), (31.75,-23.115,32.25,-22.615), (-0.5,-18.425,0.5,-16.425), (-0.5,-18.425,0.5,-7.485), (-0.25,-18.075,0.25,-17.575), (-0.25,-17.275,0.25,-16.775), (36.15,-17.175,36.65,-16.675), (36.95,-17.175,37.45,-16.675), (36.15,-16.375,36.65,-15.875), (36.95,-16.375,37.45,-15.875), (28.3,-16.125,30.3,0.155), (28.65,-15.775,29.15,-15.275), (29.45,-15.775,29.95,-15.275), (35.6,-15.325,38,-1.045), (28.65,-14.975,29.15,-14.475), (29.45,-14.975,29.95,-14.475), (30.95,-9.635,31.45,-9.135), (31.75,-9.635,32.25,-9.135), (30.95,-8.835,31.45,-8.335), (31.75,-8.835,32.25,-8.335), (32.9,-8.785,35.3,7.895), (33.45,-8.235,33.95,-7.735), (34.25,-8.235,34.75,-7.735), (-0.5,-7.985,0.5,-6.985), (30.6,-7.985,32.6,6.295), (-0.25,-7.735,0.25,-7.235), (33.45,-7.435,33.95,-6.935), (34.25,-7.435,34.75,-6.935), (36.15,-2.895,36.65,-2.395), (36.95,-2.895,37.45,-2.395), (-0.5,-2.845,0.5,-1.845), (-0.25,-2.595,0.25,-2.095), (-0.5,-2.345,0.5,8.595), (36.15,-2.095,36.65,-1.595), (36.95,-2.095,37.45,-1.595), (28.65,-1.495,29.15,-0.995), (29.45,-1.495,29.95,-0.995), (28.65,-0.695,29.15,-0.195), (29.45,-0.695,29.95,-0.195), (28.3,0.155,30.3,14.435), (30.95,4.645,31.45,5.145), (31.75,4.645,32.25,5.145), (30.95,5.445,31.45,5.945), (31.75,5.445,32.25,5.945), (33.45,6.045,33.95,6.545), (34.25,6.045,34.75,6.545), (-0.5,6.595,0.5,8.595), (33.45,6.845,33.95,7.345), (34.25,6.845,34.75,7.345), (-0.25,6.945,0.25,7.445), (-0.25,7.745,0.25,8.245), (32.9,7.895,35.3,22.175), (28.65,12.785,29.15,13.285), (29.45,12.785,29.95,13.285), (28.65,13.585,29.15,14.085), (29.45,13.585,29.95,14.085), (33.45,20.325,33.95,20.825), (34.25,20.325,34.75,20.825), (33.45,21.125,33.95,21.625), (34.25,21.125,34.75,21.625)])
R(gilbert_cell_1, metal4, [(35.6,-17.725,38,-15.325), (36.15,-17.175,36.65,-16.675), (36.95,-17.175,37.45,-16.675), (36.15,-16.375,36.65,-15.875), (36.95,-16.375,37.45,-15.875), (30.6,-9.985,32.6,-7.985), (30.95,-9.635,31.45,-9.135), (31.75,-9.635,32.25,-9.135), (30.95,-8.835,31.45,-8.335), (31.75,-8.835,32.25,-8.335), (28.3,-1.845,30.3,0.155), (28.65,-1.495,29.15,-0.995), (29.45,-1.495,29.95,-0.995), (28.65,-0.695,29.15,-0.195), (29.45,-0.695,29.95,-0.195), (32.9,5.495,35.3,7.895), (33.45,6.045,33.95,6.545), (34.25,6.045,34.75,6.545), (33.45,6.845,33.95,7.345), (34.25,6.845,34.75,7.345)])
R(gilbert_cell_1, lvpwell, [(9.3,-33.325,27.3,-19.845), (10.25,-32.375,26.35,-19.845), (9.3,-18.545,27.3,-5.065), (10.25,-18.545,26.35,-6.015), (-9,-15.045,9,-5.565), (-8.05,-14.095,8.05,-5.565), (9.3,-4.765,27.3,8.715), (-9,-4.265,9,5.215), (-8.05,-4.265,8.05,4.265), (10.25,-3.815,26.35,8.715), (9.3,10.015,27.3,23.495), (10.25,10.015,26.35,22.545)])
gilbert_cell_1.add(gdstk.Label('I_bias_p', (0,-2.345), layer=42, texttype=10))
gilbert_cell_1.add(gdstk.Label('I_bias_n', (0,-7.485), layer=42, texttype=10))
gilbert_cell_1.add(gdstk.Label('V_out_p', (29.3,-0.845), layer=46, texttype=10))
gilbert_cell_1.add(gdstk.Label('V_out_n', (31.6,-8.985), layer=46, texttype=10))
gilbert_cell_1.add(gdstk.Label('V_LO', (34.1,6.695), layer=46, texttype=10))
gilbert_cell_1.add(gdstk.Label('V_LO_b', (36.8,-16.525), layer=46, texttype=10))
gilbert_cell_1.add(gdstk.Label('RF_POS', (2,2.695), layer=36, texttype=10))
gilbert_cell_1.add(gdstk.Label('RF_NEG', (2,-12.525), layer=36, texttype=10))
gilbert_cell_1.add(gdstk.Label('VSS', (-0.25,4.875), layer=36, texttype=10))
gilbert_cell_1.add(gdstk.Label('VSS', (18.05,-5.405), layer=36, texttype=10))
gilbert_cell_1.add(gdstk.Label('VSS', (18.05,23.155), layer=36, texttype=10))

lib.write_gds('Gilbert_cell_1.gds')
